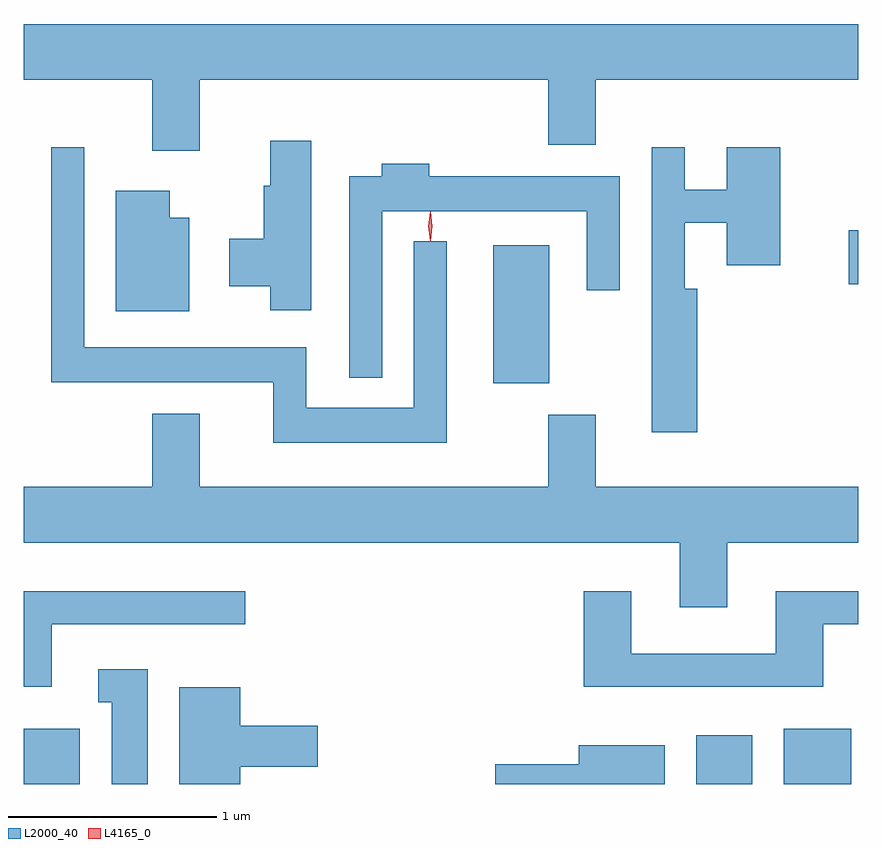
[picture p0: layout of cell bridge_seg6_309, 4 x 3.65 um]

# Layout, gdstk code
import gdstk
lib = gdstk.Library(unit=1e-6, precision=1e-09)
def R(c, l, rs):  # rectangles x0, y0, x1, y1
    for r in rs: c.add(gdstk.rectangle(r[:2], r[2:], *l))
def P(c, l, *ps):  # polygons
    for p in ps: c.add(gdstk.Polygon(p, *l))
L2000_40 = (2000, 40)
L4165_0 = (4165, 0)

bridge_seg6_309 = lib.new_cell('bridge_seg6_309')
R(bridge_seg6_309, L2000_40, [(1319.676,1553.319,1319.944,1553.584), (1322.901,1553.319,1323.169,1553.554), (1323.321,1553.319,1323.644,1553.584), (1321.926,1555.241,1322.194,1555.904), (1323.631,1555.716,1323.676,1555.974)])
P(bridge_seg6_309, L2000_40, [(1320.519,1556.696),(1322.191,1556.696),(1322.191,1556.386),(1322.419,1556.386),(1322.419,1556.696),(1323.676,1556.696),(1323.676,1556.964),(1319.676,1556.964),(1319.676,1556.696),(1320.291,1556.696),(1320.291,1556.356),(1320.519,1556.356)],
  [(1321.054,1556.404),(1320.856,1556.404),(1320.856,1556.189),(1320.826,1556.189),(1320.826,1555.934),(1320.661,1555.934),(1320.661,1555.706),(1320.856,1555.706),(1320.856,1555.591),(1321.054,1555.591)],
  [(1322.904,1555.694),(1322.844,1555.694),(1322.844,1556.011),(1323.046,1556.011),(1323.046,1555.806),(1323.304,1555.806),(1323.304,1556.374),(1323.046,1556.374),(1323.046,1556.169),(1322.844,1556.169),(1322.844,1556.373),(1322.686,1556.373),(1322.686,1555.006),(1322.904,1555.006)],
  [(1321.704,1555.923),(1321.546,1555.923),(1321.546,1555.124),(1321.029,1555.124),(1321.029,1555.414),(1319.964,1555.414),(1319.964,1556.373),(1319.806,1556.373),(1319.806,1555.246),(1320.871,1555.246),(1320.871,1554.956),(1321.704,1554.956)],
  [(1321.394,1556.066),(1322.376,1556.066),(1322.376,1555.688),(1322.534,1555.688),(1322.534,1556.234),(1321.619,1556.234),(1321.619,1556.294),(1321.391,1556.294),(1321.391,1556.234),(1321.236,1556.234),(1321.236,1555.268),(1321.394,1555.268)],
  [(1320.469,1556.034),(1320.374,1556.034),(1320.374,1556.164),(1320.116,1556.164),(1320.116,1555.586),(1320.469,1555.586)],
  [(1323.049,1554.476),(1323.676,1554.476),(1323.676,1554.744),(1322.419,1554.744),(1322.419,1555.089),(1322.191,1555.089),(1322.191,1554.744),(1320.519,1554.744),(1320.519,1555.094),(1320.291,1555.094),(1320.291,1554.744),(1319.676,1554.744),(1319.676,1554.476),(1322.821,1554.476),(1322.821,1554.166),(1323.049,1554.166)],
  [(1319.809,1554.086),(1320.738,1554.086),(1320.738,1554.244),(1319.676,1554.244),(1319.676,1553.786),(1319.809,1553.786)],
  [(1323.509,1554.086),(1323.676,1554.086),(1323.676,1554.244),(1323.281,1554.244),(1323.281,1553.944),(1322.589,1553.944),(1322.589,1554.244),(1322.361,1554.244),(1322.361,1553.786),(1323.509,1553.786)],
  [(1320.269,1553.869),(1320.033,1553.869),(1320.033,1553.711),(1320.096,1553.711),(1320.096,1553.319),(1320.269,1553.319)],
  [(1320.714,1553.401),(1321.084,1553.401),(1321.084,1553.599),(1320.714,1553.599),(1320.714,1553.784),(1320.421,1553.784),(1320.421,1553.319),(1320.714,1553.319)],
  [(1322.749,1553.504),(1322.336,1553.504),(1322.336,1553.414),(1321.936,1553.414),(1321.936,1553.319),(1322.749,1553.319)])
P(bridge_seg6_309, L4165_0, [(1321.625,1555.924),(1321.625,1555.924),(1321.615,1555.993),(1321.625,1556.063),(1321.625,1556.063),(1321.626,1556.063),(1321.635,1555.993),(1321.626,1555.924)])

lib.write_gds('bridge_seg6_309.gds')
